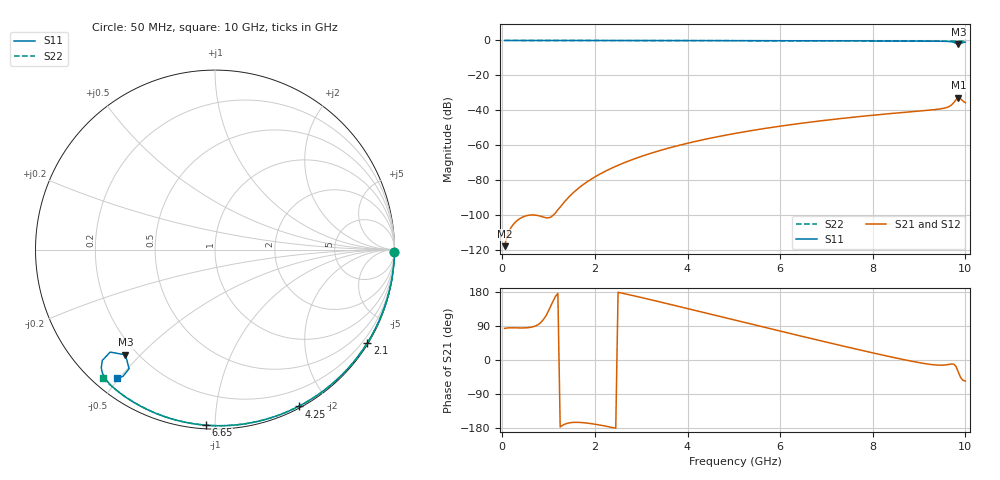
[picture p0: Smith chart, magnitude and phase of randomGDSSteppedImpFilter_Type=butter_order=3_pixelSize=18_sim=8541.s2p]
! freq	dB(S11)	phase(S11)	dB(S12)	phase(S12)
!  dB(S21)	phase(S21)	dB(S22)	phase(S22)
!S-par simulation data
#  GHz  S  DB  R 50
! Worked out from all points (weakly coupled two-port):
!   200 points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, 50 MHz to 10 GHz, reference 50 ohm
!   highest |S21| = -32.81 dB at 9.85 GHz (marker M1); lowest = -117.7 dB at 50 MHz (marker M2)
!   lowest |S11| = -2.3 dB at 9.85 GHz (marker M3), VSWR 7.69, Z = 7.86 - j22.6 ohm
!   |S11| at or under -10 dB: nowhere
!   |S22| runs from -0.4 to 0.0 dB; largest |S21 - S12| = 0
!   S11 on the Smith chart (normalised r, x): 50 MHz: open; 2.1 GHz: 0.03, -3.54; 4.25 GHz: 0.02, -1.67; 6.65 GHz: 0.02, -0.95; 10 GHz: 0.06, -0.49
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0.05  -0.00 -0.8  -117.68 83.4  -117.68 83.4  -0.00 -0.8
0.9  -0.02 -13.7  -101.18 108.9  -101.18 108.9  -0.02 -13.5
1.75  -0.03 -26.4  -82.40 -165.4  -82.40 -165.4  -0.03 -26.1
1.9  -0.04 -28.6  -79.69 -167.6  -79.69 -167.6  -0.04 -28.3
2.1  -0.04 -31.5  -76.57 -171.5  -76.57 -171.5  -0.04 -31.2
2.65  -0.05 -39.5  -69.76 174.7  -69.76 174.7  -0.05 -39.1
3.4  -0.07 -50.2  -63.00 153.4  -63.00 153.4  -0.07 -49.7
4.25  -0.09 -61.9  -57.28 128.3  -57.28 128.3  -0.09 -61.4
5.05  -0.11 -72.6  -53.06 104.4  -53.06 104.4  -0.11 -72.0
5.85  -0.14 -83.0  -49.61 80.7  -49.61 80.7  -0.14 -82.2
6.65  -0.18 -93.1  -46.72 57.2  -46.72 57.2  -0.18 -92.2
6.7  -0.18 -93.7  -46.56 55.8  -46.56 55.8  -0.18 -92.8
8.35  -0.29 -113.7  -41.90 9.3  -41.90 9.3  -0.29 -112.3
9.1  -0.36 -123.0  -40.15 -9.0  -40.15 -9.0  -0.35 -120.9
9.55  -0.49 -129.9  -38.70 -13.3  -38.70 -13.3  -0.40 -126.0
9.65  -0.62 -132.3  -37.77 -11.5  -37.77 -11.5  -0.41 -127.1
9.75  -1.10 -135.5  -35.56 -11.1  -35.56 -11.1  -0.42 -128.2
9.8  -1.76 -135.6  -33.81 -17.6  -33.81 -17.6  -0.42 -128.7
9.85  -2.27 -130.4  -32.81 -32.8  -32.81 -32.8  -0.42 -129.3
9.9  -1.74 -125.8  -33.52 -47.0  -33.52 -47.0  -0.43 -129.9
9.95  -1.19 -126.0  -34.72 -53.6  -34.72 -53.6  -0.43 -130.5
10  -0.90 -127.3  -35.62 -55.7  -35.62 -55.7  -0.44 -131.0
